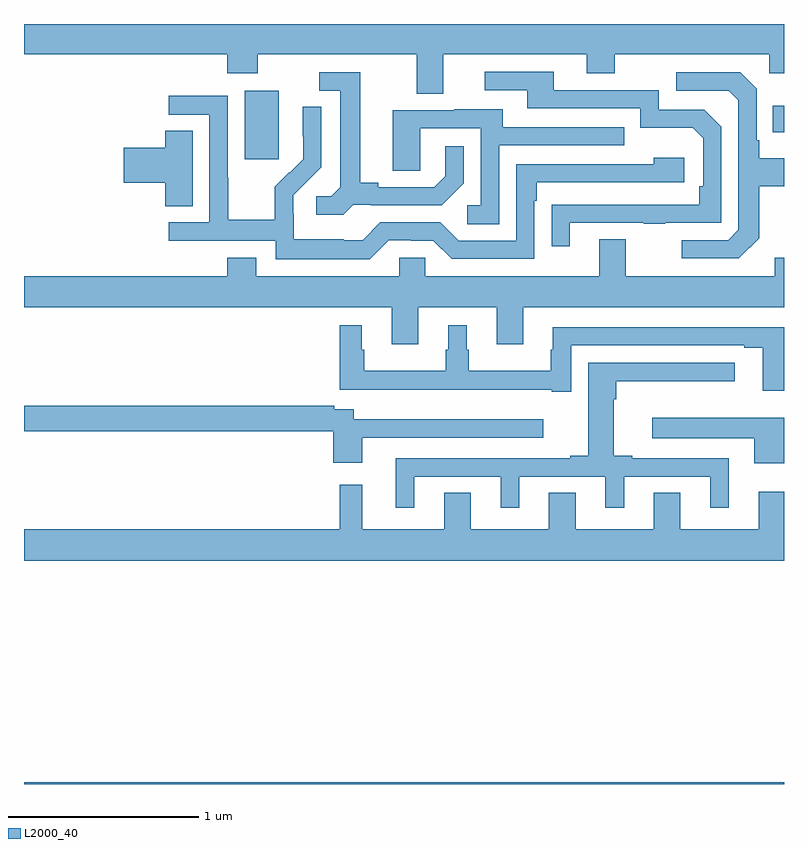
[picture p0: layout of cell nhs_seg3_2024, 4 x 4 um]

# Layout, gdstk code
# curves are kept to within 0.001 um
import gdstk
lib = gdstk.Library(unit=1e-6, precision=1e-09)
def R(c, l, rs):  # rectangles x0, y0, x1, y1
    for r in rs: c.add(gdstk.rectangle(r[:2], r[2:], *l))
def P(c, l, *ps):  # polygons
    for p in ps: c.add(gdstk.Polygon(p, *l))
L2000_40 = (2000, 40)

nhs_seg3_2024 = lib.new_cell('nhs_seg3_2024')
R(nhs_seg3_2024, L2000_40, [(215,706.4,219,706.408), (216.161,709.689,216.34,710.05), (218.941,709.829,219,709.969)])
P(nhs_seg3_2024, L2000_40, [(217.207,710.24),(217.961,710.24),(217.961,710.141),(218.109,710.141),(218.109,710.24),(218.922,710.24),(218.922,710.141),(219,710.141),(219,710.4),(215,710.4),(215,710.24),(216.071,710.24),(216.071,710.141),(216.231,710.141),(216.231,710.24),(217.067,710.24),(217.067,710.032),(217.207,710.032)],
  [(217.873,709.353),(218.263,709.353),(218.263,709.348),(218.375,709.348),(218.375,709.353),(218.67,709.353),(218.67,709.86),(218.58,709.95),(218.34,709.95),(218.34,710.052),(217.789,710.052),(217.789,710.148),(217.425,710.148),(217.425,710.052),(217.649,710.052),(217.649,709.956),(218.244,709.956),(218.244,709.853),(218.521,709.853),(218.574,709.8),(218.574,709.546),(218.554,709.546),(218.554,709.449),(217.777,709.448),(217.777,709.23),(217.873,709.23)],
  [(216.732,709.449),(216.826,709.449),(216.826,709.446),(217.198,709.446),(217.314,709.562),(217.314,709.756),(217.217,709.756),(217.217,709.599),(217.16,709.542),(216.865,709.542),(216.865,709.565),(216.769,709.565),(216.769,710.145),(216.555,710.145),(216.555,710.049),(216.665,710.049),(216.665,709.541),(216.618,709.494),(216.537,709.494),(216.537,709.397),(216.68,709.397)],
  [(218.869,709.273),(218.869,709.546),(219,709.546),(219,709.693),(218.869,709.693),(218.869,709.789),(218.856,709.789),(218.856,710.058),(218.769,710.145),(218.433,710.145),(218.433,710.049),(218.709,710.049),(218.76,709.998),(218.76,709.317),(218.706,709.263),(218.463,709.263),(218.463,709.167),(218.763,709.167)],
  [(216.921,709.263),(217.037,709.263),(217.037,709.26),(217.155,709.26),(217.251,709.164),(217.686,709.164),(217.686,709.469),(217.699,709.469),(217.699,709.566),(218.476,709.566),(218.476,709.696),(218.315,709.696),(218.315,709.662),(217.59,709.662),(217.59,709.26),(217.287,709.26),(217.191,709.356),(216.876,709.356),(216.783,709.263),(216.683,709.263),(216.683,709.267),(216.42,709.267),(216.42,709.401),(216.418,709.401),(216.418,709.498),(216.564,709.646),(216.564,709.964),(216.468,709.964),(216.468,709.81),(216.47,709.81),(216.47,709.688),(216.399,709.617),(216.396,709.62),(216.319,709.543),(216.319,709.369),(216.075,709.369),(216.075,709.592),(216.072,709.592),(216.072,710.022),(215.763,710.022),(215.763,709.923),(215.976,709.923),(215.976,709.356),(215.763,709.356),(215.763,709.26),(216.324,709.26),(216.324,709.163),(216.821,709.163)],
  [(217.5,709.761),(218.159,709.761),(218.159,709.857),(217.519,709.857),(217.519,709.951),(217.265,709.951),(217.265,709.947),(216.941,709.947),(216.941,709.627),(217.086,709.627),(217.086,709.851),(217.404,709.851),(217.404,709.446),(217.332,709.446),(217.332,709.345),(217.5,709.345)],
  [(215.887,709.838),(215.744,709.838),(215.744,709.748),(215.526,709.748),(215.526,709.565),(215.744,709.565),(215.744,709.441),(215.887,709.441)],
  [(217.075,708.908),(217.487,708.908),(217.487,708.714),(217.627,708.714),(217.627,708.908),(219,708.908),(219,709.171),(218.951,709.171),(218.951,709.072),(218.167,709.072),(218.167,709.267),(218.027,709.267),(218.027,709.072),(217.113,709.072),(217.113,709.17),(216.975,709.17),(216.975,709.072),(216.223,709.072),(216.223,709.171),(216.071,709.171),(216.071,709.072),(215,709.072),(215,708.908),(216.935,708.908),(216.935,708.714),(217.075,708.714)],
  [(217.881,708.708),(218.792,708.708),(218.792,708.696),(218.888,708.696),(218.888,708.471),(219,708.471),(219,708.804),(217.784,708.804),(217.784,708.686),(217.773,708.686),(217.773,708.574),(217.342,708.574),(217.342,708.686),(217.33,708.686),(217.33,708.814),(217.232,708.814),(217.232,708.686),(217.221,708.686),(217.221,708.574),(216.79,708.574),(216.79,708.686),(216.778,708.686),(216.778,708.814),(216.661,708.814),(216.661,708.476),(217.778,708.476),(217.778,708.465),(217.881,708.465)],
  [(217.054,708.018),(217.508,708.018),(217.508,707.853),(217.606,707.853),(217.606,708.018),(218.06,708.018),(218.06,707.853),(218.158,707.853),(218.158,708.018),(218.612,708.018),(218.612,707.853),(218.71,707.853),(218.71,708.114),(218.2,708.114),(218.2,708.127),(218.104,708.127),(218.104,708.425),(218.117,708.425),(218.117,708.521),(218.74,708.521),(218.74,708.618),(217.97,708.618),(217.97,708.127),(217.874,708.127),(217.874,708.114),(216.956,708.114),(216.956,707.853),(217.054,707.853)],
  [(216.781,708.222),(217.732,708.222),(217.732,708.319),(216.735,708.319),(216.735,708.372),(216.632,708.372),(216.632,708.392),(215,708.392),(215,708.256),(216.627,708.256),(216.627,708.09),(216.781,708.09)],
  [(219,708.328),(218.307,708.328),(218.307,708.221),(218.843,708.221),(218.843,708.087),(219,708.087)],
  [(219,707.938),(218.867,707.938),(218.867,707.74),(218.455,707.74),(218.455,707.933),(218.315,707.933),(218.315,707.74),(217.903,707.74),(217.903,707.933),(217.763,707.933),(217.763,707.74),(217.351,707.74),(217.351,707.933),(217.211,707.933),(217.211,707.74),(216.779,707.74),(216.779,707.974),(216.661,707.974),(216.661,707.74),(215,707.74),(215,707.576),(219,707.576)])

lib.write_gds('nhs_seg3_2024.gds')
